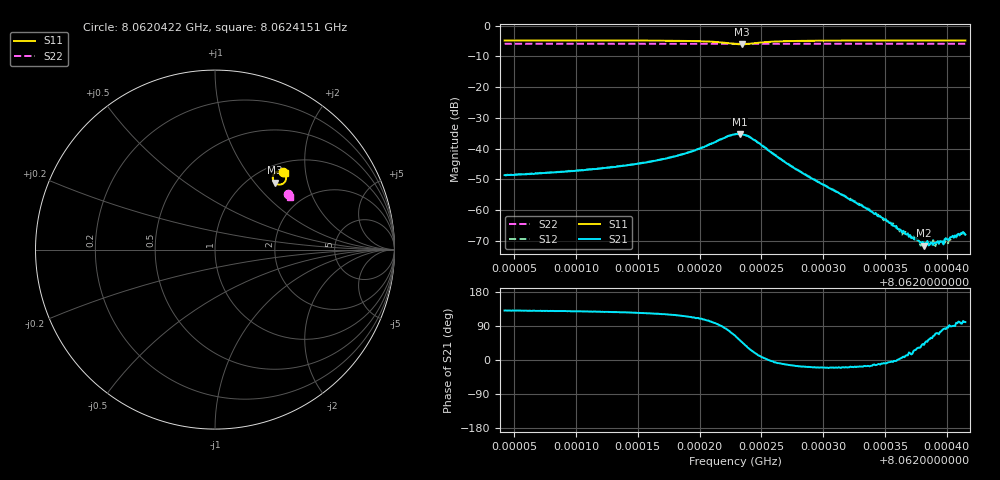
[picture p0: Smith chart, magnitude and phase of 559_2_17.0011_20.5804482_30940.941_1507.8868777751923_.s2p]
#  HZ  S  RI  R  50.00
! Rohde & Schwarz Vector Network Analyzer
! Rohde-Schwarz,ZNB20-2Port,1311601062101988,3.16
! Created: UTC 3/20/2024, 11:17:08 PM
! freq[Hz]  re:S11  im:S11  re:S21  im:S21  re:S12  im:S12  re:S22  im:S22
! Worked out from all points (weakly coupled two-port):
!   401 points, 8.0620422 GHz to 8.0624151 GHz, reference 50 ohm
!   highest |S21| = -35.21 dB at 8.0622323 GHz (marker M1); lowest = -71.5 dB at 8.0623815 GHz (marker M2)
!   lowest |S11| = -6.0 dB at 8.0622342 GHz (marker M3), VSWR 3.00, Z = 64.3 + j63.8 ohm
!   |S11| at or under -10 dB: nowhere
!   |S22| runs from -5.9 to -5.9 dB; largest |S21 - S12| = 0.0013
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8.06204218e9  0.3798 0.433  -0.00241 0.00281  -0.00228 0.00298  0.4042 0.309
8.06210464e9  0.3856 0.4271  -0.00277 0.00351  -0.00255 0.0037  0.4066 0.3058
8.06214472e9  0.3901 0.4211  -0.00316 0.00446  -0.00291 0.00473  0.408 0.3035
8.06216709e9  0.3932 0.4154  -0.00346 0.00557  -0.00312 0.00582  0.4088 0.3022
8.06219413e9  0.3965 0.4016  -0.00341 0.00838  -0.00303 0.00863  0.4097 0.3002
8.06222862e9  0.3527 0.3625  0.00736 0.0155  0.00853 0.015  0.4084 0.2975
8.06223235e9  0.3387 0.3679  0.0104 0.0139  0.0114 0.0133  0.408 0.2977
8.06223421e9  0.3329 0.3726  0.0116 0.0126  0.0125 0.0119  0.4078 0.298
8.06224354e9  0.3222 0.405  0.0131 0.00516  0.0136 0.00442  0.4081 0.299
8.06226871e9  0.3524 0.436  0.006 -0.00119  0.006 -0.00157  0.4106 0.2988
8.06229108e9  0.3668 0.4358  0.00309 -0.00107  0.00306 -0.00125  0.4121 0.2975
8.06233583e9  0.379 0.4314  0.001 -0.00028  0.000993 -0.000377  0.414 0.2948
8.06235354e9  0.3817 0.4298  0.000615 -6.12e-05  0.000615 -0.00014  0.4147 0.2941
8.06236379e9  0.3833 0.429  0.000433 4.64e-05  0.0004 1.21e-05  0.4151 0.2935
8.06236845e9  0.3838 0.4285  0.000409 8.98e-05  0.000405 6.77e-05  0.4153 0.2933
8.06237498e9  0.3845 0.428  0.000317 0.000161  0.000332 0.000101  0.4154 0.2929
8.06237778e9  0.3848 0.428  0.00026 0.000165  0.000272 0.000137  0.4157 0.2928
8.06238151e9  0.3852 0.4275  0.000204 0.00017  0.000203 0.000182  0.4157 0.2926
8.06239549e9  0.3867 0.4266  7.58e-05 0.000301  6.83e-05 0.000293  0.416 0.292
8.06240015e9  0.3872 0.4262  2.26e-05 0.000337  6.12e-05 0.000302  0.4164 0.2917
8.06241134e9  0.3881 0.4254  -4.81e-05 0.000417  -2.03e-05 0.000406  0.4169 0.291
8.06241507e9  0.3886 0.4253  -6.96e-05 0.000394  -6.66e-05 0.000385  0.4169 0.2907
